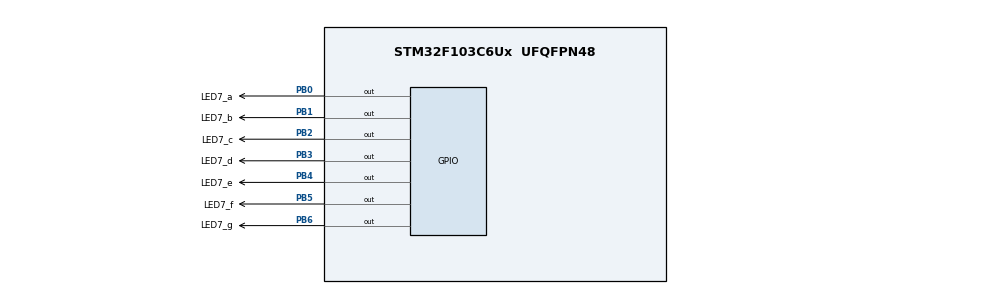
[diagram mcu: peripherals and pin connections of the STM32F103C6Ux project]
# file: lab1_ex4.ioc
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Mcu.Family=STM32F1
Mcu.Name=STM32F103C6Ux
Mcu.Package=UFQFPN48
NVIC.PriorityGroup=NVIC_PRIORITYGROUP_4
PB0.GPIO_Label=LED7_a
PB0.Signal=GPIO_Output
PB1.GPIO_Label=LED7_b
PB1.Signal=GPIO_Output
PB2.GPIO_Label=LED7_c
PB2.Signal=GPIO_Output
PB3.GPIO_Label=LED7_d
PB3.Signal=GPIO_Output
PB4.GPIO_Label=LED7_e
PB4.Signal=GPIO_Output
PB5.GPIO_Label=LED7_f
PB5.Signal=GPIO_Output
PB6.GPIO_Label=LED7_g
PB6.Signal=GPIO_Output
ProjectManager.HeapSize=0x200
ProjectManager.StackSize=0x400
ProjectManager.TargetToolchain=STM32CubeIDE
RCC.APB1Freq_Value=8000000
RCC.APB2Freq_Value=8000000
VP_SYS_VS_ND.Mode=No_Debug
board=custom

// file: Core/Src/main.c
/* USER CODE BEGIN Header */
/**
  ******************************************************************************
  * @file           : main.c
  * @brief          : Main program body
  ******************************************************************************
  * @attention
  *
  * <h2><center>&copy; Copyright (c) 2025 STMicroelectronics.
  * All rights reserved.</center></h2>
  *
  * This software component is licensed by ST under BSD 3-Clause license,
  * the "License"; You may not use this file except in compliance with the
  * License. You may obtain a copy of the License at:
  *                        opensource.org/licenses/BSD-3-Clause
  *
  ******************************************************************************
  */
/* USER CODE END Header */
#include "main.h"

void SystemClock_Config(void);
static void MX_GPIO_Init(void);

int main(void)
{

  /* MCU Configuration--------------------------------------------------------*/

  /* Reset of all peripherals, Initializes the Flash interface and the Systick. */
  HAL_Init();

  /* Configure the system clock */
  SystemClock_Config();

  /* Initialize all configured peripherals */
  MX_GPIO_Init();

  /* Infinite loop */
  /* USER CODE BEGIN WHILE */

  void display7SEG(int num)
  {
	  if (num < 0 || num > 9) 	return;

	  //OFF ALL
	  HAL_GPIO_WritePin(LED7_a_GPIO_Port, LED7_a_Pin, SET);
	  HAL_GPIO_WritePin(LED7_b_GPIO_Port, LED7_b_Pin, SET);
	  HAL_GPIO_WritePin(LED7_c_GPIO_Port, LED7_c_Pin, SET);
	  HAL_GPIO_WritePin(LED7_d_GPIO_Port, LED7_d_Pin, SET);
	  HAL_GPIO_WritePin(LED7_e_GPIO_Port, LED7_e_Pin, SET);
	  HAL_GPIO_WritePin(LED7_f_GPIO_Port, LED7_f_Pin, SET);
	  HAL_GPIO_WritePin(LED7_g_GPIO_Port, LED7_g_Pin, SET);

	  //ON
	  if(num!=1 && num!=4)
		  HAL_GPIO_WritePin(LED7_a_GPIO_Port, LED7_a_Pin, RESET);
	  if(num!=5 && num!=6)
		  HAL_GPIO_WritePin(LED7_b_GPIO_Port, LED7_b_Pin, RESET);
	  if(num!=2)
		  HAL_GPIO_WritePin(LED7_c_GPIO_Port, LED7_c_Pin, RESET);
	  if(num!=1 && num!=4 && num!=7)
		  HAL_GPIO_WritePin(LED7_d_GPIO_Port, LED7_d_Pin, RESET);
	  if(num!=1 && num!=3 && num!=4 && num!=5 && num!=7 && num!=9)
		  HAL_GPIO_WritePin(LED7_e_GPIO_Port, LED7_e_Pin, RESET);
	  if(num!=1 && num!=2 && num!=3 && num!=7)
		  HAL_GPIO_WritePin(LED7_f_GPIO_Port, LED7_f_Pin, RESET);
	  if(num!=1 && num!=7 && num!=0)
		  HAL_GPIO_WritePin(LED7_g_GPIO_Port, LED7_g_Pin, RESET);
  }

  int counter=0;
  while (1)
  {
	  if(counter >= 10) counter = 0;
	  display7SEG(counter++);
	  HAL_Delay(1000);
    /* USER CODE END WHILE */

  }
}

void SystemClock_Config(void)
{
  RCC_OscInitTypeDef RCC_OscInitStruct = {0};
  RCC_ClkInitTypeDef RCC_ClkInitStruct = {0};

  /** Initializes the RCC Oscillators according to the specified parameters
  * in the RCC_OscInitTypeDef structure.
  */
  RCC_OscInitStruct.OscillatorType = RCC_OSCILLATORTYPE_HSI;
  RCC_OscInitStruct.HSIState = RCC_HSI_ON;
  RCC_OscInitStruct.HSICalibrationValue = RCC_HSICALIBRATION_DEFAULT;
  RCC_OscInitStruct.PLL.PLLState = RCC_PLL_NONE;
  if (HAL_RCC_OscConfig(&RCC_OscInitStruct) != HAL_OK)
  {
    Error_Handler();
  }
  /** Initializes the CPU, AHB and APB buses clocks
  */
  RCC_ClkInitStruct.ClockType = RCC_CLOCKTYPE_HCLK|RCC_CLOCKTYPE_SYSCLK
                              |RCC_CLOCKTYPE_PCLK1|RCC_CLOCKTYPE_PCLK2;
  RCC_ClkInitStruct.SYSCLKSource = RCC_SYSCLKSOURCE_HSI;
  RCC_ClkInitStruct.AHBCLKDivider = RCC_SYSCLK_DIV1;
  RCC_ClkInitStruct.APB1CLKDivider = RCC_HCLK_DIV1;
  RCC_ClkInitStruct.APB2CLKDivider = RCC_HCLK_DIV1;

  if (HAL_RCC_ClockConfig(&RCC_ClkInitStruct, FLASH_LATENCY_0) != HAL_OK)
  {
    Error_Handler();
  }
}

static void MX_GPIO_Init(void)
{
  GPIO_InitTypeDef GPIO_InitStruct = {0};

  /* GPIO Ports Clock Enable */
  __HAL_RCC_GPIOB_CLK_ENABLE();

  /*Configure GPIO pin Output Level */
  HAL_GPIO_WritePin(GPIOB, LED7_a_Pin|LED7_b_Pin|LED7_c_Pin|LED7_d_Pin
                          |LED7_e_Pin|LED7_f_Pin|LED7_g_Pin, GPIO_PIN_RESET);

  /*Configure GPIO pins : LED7_a_Pin LED7_b_Pin LED7_c_Pin LED7_d_Pin
                           LED7_e_Pin LED7_f_Pin LED7_g_Pin */
  GPIO_InitStruct.Pin = LED7_a_Pin|LED7_b_Pin|LED7_c_Pin|LED7_d_Pin
                          |LED7_e_Pin|LED7_f_Pin|LED7_g_Pin;
  GPIO_InitStruct.Mode = GPIO_MODE_OUTPUT_PP;
  GPIO_InitStruct.Pull = GPIO_NOPULL;
  GPIO_InitStruct.Speed = GPIO_SPEED_FREQ_LOW;
  HAL_GPIO_Init(GPIOB, &GPIO_InitStruct);

}

void Error_Handler(void)
{
  __disable_irq();
  while (1)
  {
  }
}

/************************ (C) COPYRIGHT STMicroelectronics *****END OF FILE****/
